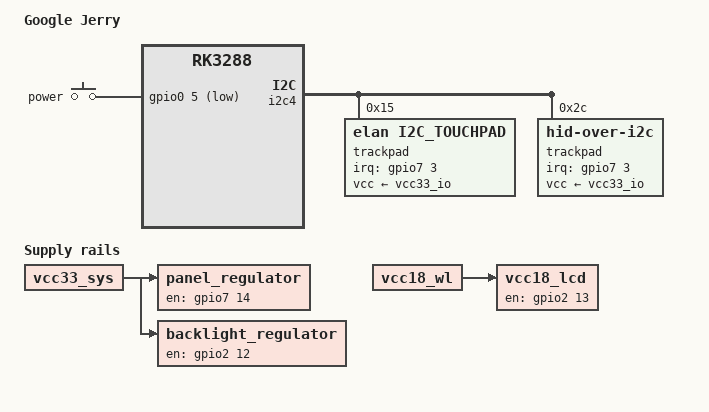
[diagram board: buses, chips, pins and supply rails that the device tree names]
// SPDX-License-Identifier: GPL-2.0
/*
 * Google Veyron Jerry Rev 3+ board device tree source
 *
 * Copyright 2014 Google, Inc
 */

/dts-v1/;
#include "rk3288-veyron-chromebook.dtsi"
#include "cros-ec-sbs.dtsi"

/ {
	model = "Google Jerry";
	compatible = "google,veyron-jerry-rev7", "google,veyron-jerry-rev6",
		     "google,veyron-jerry-rev5", "google,veyron-jerry-rev4",
		     "google,veyron-jerry-rev3", "google,veyron-jerry",
		     "google,veyron", "rockchip,rk3288";

        chosen {
                stdout-path = &uart2;
        };

	panel_regulator: panel-regulator {
		compatible = "regulator-fixed";
		enable-active-high;
		gpio = <&gpio7 14 GPIO_ACTIVE_HIGH>;
		pinctrl-names = "default";
		pinctrl-0 = <&lcd_enable_h>;
		regulator-name = "panel_regulator";
		vin-supply = <&vcc33_sys>;
	};

	vcc18_lcd: vcc18-lcd {
		compatible = "regulator-fixed";
		enable-active-high;
		gpio = <&gpio2 13 GPIO_ACTIVE_HIGH>;
		pinctrl-names = "default";
		pinctrl-0 = <&avdd_1v8_disp_en>;
		regulator-name = "vcc18_lcd";
		regulator-always-on;
		regulator-boot-on;
		vin-supply = <&vcc18_wl>;
	};

	backlight_regulator: backlight-regulator {
		compatible = "regulator-fixed";
		enable-active-high;
		gpio = <&gpio2 12 GPIO_ACTIVE_HIGH>;
		pinctrl-names = "default";
		pinctrl-0 = <&bl_pwr_en>;
		regulator-name = "backlight_regulator";
		vin-supply = <&vcc33_sys>;
		startup-delay-us = <15000>;
	};

	sound {
		compatible = "rockchip,audio-max98090-jerry";

		cpu {
			sound-dai = <&i2s 0>;
		};

		codec {
			sound-dai = <&max98090 0>;
		};
	};
};

&dmc {
	rockchip,pctl-timing = <0x29a 0xc8 0x1f4 0x42 0x4e 0x4 0xea 0xa
		0x5 0x0 0xa 0x7 0x19 0x24 0xa 0x7
		0x5 0xa 0x5 0x200 0x5 0x10 0x40 0x0
		0x1 0x7 0x7 0x4 0xc 0x43 0x100 0x0
		0x5 0x0>;
	rockchip,phy-timing = <0x48f9aab4 0xea0910 0x1002c200
		0xa60 0x40 0x10 0x0>;
	rockchip,sdram-params = <0x30B25564 0x627 3 666000000 3 9 1>;
};

&gpio_keys {
	power {
		gpios = <&gpio0 5 GPIO_ACTIVE_LOW>;
	};
};

&backlight {
	power-supply = <&backlight_regulator>;
};

&panel {
	power-supply= <&panel_regulator>;
};

&rk808 {
	pinctrl-names = "default";
	pinctrl-0 = <&pmic_int_l &dvs_1 &dvs_2>;
	dvs-gpios = <&gpio7 12 GPIO_ACTIVE_HIGH>,
		    <&gpio7 15 GPIO_ACTIVE_HIGH>;

	regulators {
		mic_vcc: LDO_REG2 {
			regulator-always-on;
			regulator-boot-on;
			regulator-min-microvolt = <1800000>;
			regulator-max-microvolt = <1800000>;
			regulator-name = "mic_vcc";
			regulator-suspend-mem-disabled;
		};
	};
};

&sdmmc {
	pinctrl-names = "default";
	pinctrl-0 = <&sdmmc_clk &sdmmc_cmd &sdmmc_cd_disabled &sdmmc_cd_gpio
			&sdmmc_bus4>;
	disable-wp;
};

&vcc_5v {
	enable-active-high;
	gpio = <&gpio7 21 GPIO_ACTIVE_HIGH>;
	pinctrl-names = "default";
	pinctrl-0 = <&drv_5v>;
};

&vcc50_hdmi {
	enable-active-high;
	gpio = <&gpio5 19 GPIO_ACTIVE_HIGH>;
	pinctrl-names = "default";
	pinctrl-0 = <&vcc50_hdmi_en>;
};

&edp {
	pinctrl-names = "default";
	pinctrl-0 = <&edp_hpd>;
};

&pinctrl {
	backlight {
		bl_pwr_en: bl_pwr_en {
			rockchip,pins = <2 12 RK_FUNC_GPIO &pcfg_pull_none>;
		};
	};

	buck-5v {
		drv_5v: drv-5v {
			rockchip,pins = <7 21 RK_FUNC_GPIO &pcfg_pull_none>;
		};
	};

	edp {
		edp_hpd: edp_hpd {
			rockchip,pins = <7 11 RK_FUNC_2 &pcfg_pull_down>;
		};
	};

	emmc {
		/* Make sure eMMC is not in reset */
		emmc_deassert_reset: emmc-deassert-reset {
			rockchip,pins = <2 9 RK_FUNC_GPIO &pcfg_pull_none>;
		};
	};

	hdmi {
		vcc50_hdmi_en: vcc50-hdmi-en {
			rockchip,pins = <5 19 RK_FUNC_GPIO &pcfg_pull_none>;
		};
	};

	lcd {
		lcd_enable_h: lcd-en {
			rockchip,pins = <7 14 RK_FUNC_GPIO &pcfg_pull_none>;
		};

		avdd_1v8_disp_en: avdd-1v8-disp-en {
			rockchip,pins = <2 13 RK_FUNC_GPIO &pcfg_pull_none>;
		};
	};

	pmic {
		dvs_1: dvs-1 {
			rockchip,pins = <7 12 RK_FUNC_GPIO &pcfg_pull_down>;
		};

		dvs_2: dvs-2 {
			rockchip,pins = <7 15 RK_FUNC_GPIO &pcfg_pull_down>;
		};
	};
};

&i2c4 {
	status = "okay";

	/*
	 * Trackpad pin control is shared between Elan and Synaptics devices
	 * so we have to pull it up to the bus level.
	 */
	pinctrl-names = "default";
	pinctrl-0 = <&i2c4_xfer &trackpad_int>;

	trackpad@15 {
		compatible = "elan,i2c_touchpad";
		interrupt-parent = <&gpio7>;
		interrupts = <3 IRQ_TYPE_EDGE_FALLING>;
		/*
		 * Remove the inherited pinctrl settings to avoid clashing
		 * with bus-wide ones.
		 */
		/delete-property/pinctrl-names;
		/delete-property/pinctrl-0;
		reg = <0x15>;
		vcc-supply = <&vcc33_io>;
		wakeup-source;
	};

	trackpad@2c {
		compatible = "hid-over-i2c";
		interrupt-parent = <&gpio7>;
		interrupts = <3 IRQ_TYPE_EDGE_FALLING>;
		reg = <0x2c>;
		hid-descr-addr = <0x0020>;
		vcc-supply = <&vcc33_io>;
		wakeup-source;
	};
};
